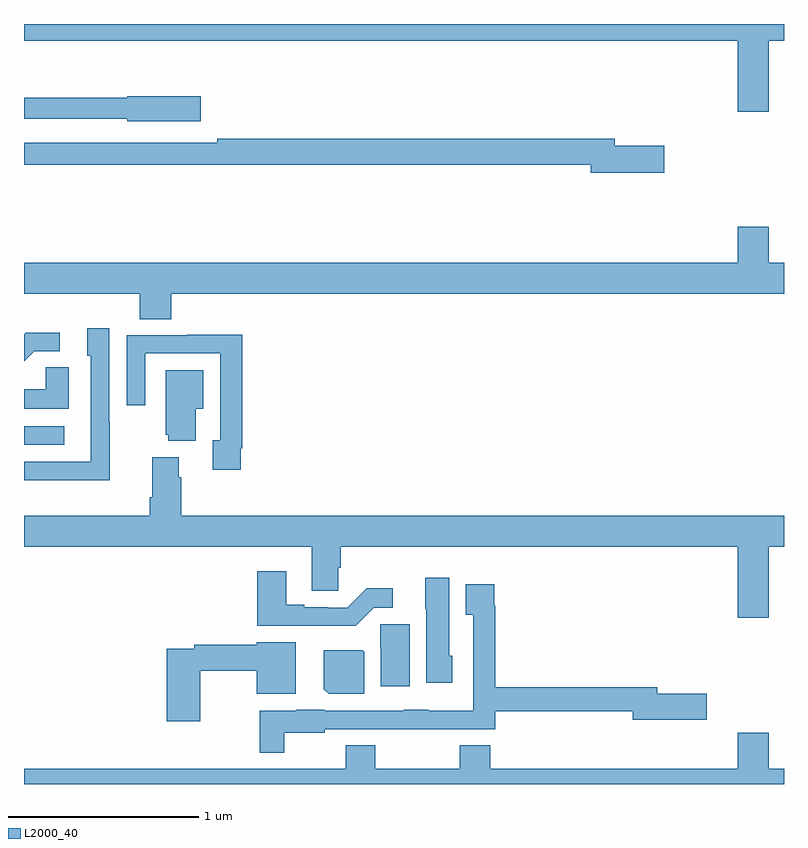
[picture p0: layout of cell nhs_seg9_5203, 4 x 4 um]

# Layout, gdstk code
import gdstk
lib = gdstk.Library(unit=1e-6, precision=1e-09)
def R(c, l, rs):  # rectangles x0, y0, x1, y1
    for r in rs: c.add(gdstk.rectangle(r[:2], r[2:], *l))
def P(c, l, *ps):  # polygons
    for p in ps: c.add(gdstk.Polygon(p, *l))
L2000_40 = (2000, 40)

nhs_seg9_5203 = lib.new_cell('nhs_seg9_5203')
R(nhs_seg9_5203, L2000_40, [(413,1202.286,413.212,1202.382)])
P(nhs_seg9_5203, L2000_40, [(416.92,1204.412),(417,1204.412),(417,1204.5),(413,1204.5),(413,1204.412),(416.756,1204.412),(416.756,1204.038),(416.92,1204.038)],
  [(413.929,1204.119),(413.544,1204.119),(413.544,1204.111),(413,1204.111),(413,1204.002),(413.544,1204.002),(413.544,1203.989),(413.929,1203.989)],
  [(416.371,1203.86),(416.11,1203.86),(416.11,1203.896),(414.016,1203.896),(414.016,1203.876),(413,1203.876),(413,1203.76),(415.982,1203.76),(415.982,1203.718),(416.371,1203.718)],
  [(413.774,1203.08),(417,1203.08),(417,1203.244),(416.92,1203.244),(416.92,1203.433),(416.756,1203.433),(416.756,1203.244),(413,1203.244),(413,1203.08),(413.609,1203.08),(413.609,1202.947),(413.774,1202.947)],
  [(413.451,1202.405),(413.448,1202.405),(413.448,1202.899),(413.333,1202.899),(413.333,1202.754),(413.352,1202.754),(413.352,1202.196),(413,1202.196),(413,1202.099),(413.451,1202.099)],
  [(413.053,1202.778),(413.188,1202.778),(413.188,1202.876),(413.009,1202.876),(413,1202.867),(413,1202.725)],
  [(414.142,1202.266),(414.149,1202.266),(414.149,1202.864),(413.857,1202.864),(413.857,1202.862),(413.541,1202.862),(413.541,1202.493),(413.637,1202.493),(413.637,1202.766),(414.033,1202.766),(414.033,1202.31),(413.993,1202.31),(413.993,1202.154),(414.142,1202.154)],
  [(413.236,1202.693),(413.115,1202.693),(413.115,1202.578),(413,1202.578),(413,1202.474),(413.236,1202.474)],
  [(413.905,1202.474),(413.944,1202.474),(413.944,1202.677),(413.747,1202.677),(413.747,1202.337),(413.759,1202.337),(413.759,1202.306),(413.905,1202.306)],
  [(416.92,1201.748),(417,1201.748),(417,1201.912),(413.828,1201.912),(413.828,1202.114),(413.815,1202.114),(413.815,1202.221),(413.675,1202.221),(413.675,1202.008),(413.663,1202.008),(413.663,1201.912),(413,1201.912),(413,1201.748),(414.515,1201.748),(414.515,1201.516),(414.654,1201.516),(414.654,1201.638),(414.668,1201.638),(414.668,1201.748),(416.756,1201.748),(416.756,1201.374),(416.92,1201.374)],
  [(414.84,1201.428),(414.94,1201.428),(414.94,1201.531),(414.805,1201.531),(414.702,1201.428),(414.602,1201.428),(414.602,1201.431),(414.475,1201.431),(414.475,1201.444),(414.379,1201.444),(414.379,1201.621),(414.227,1201.621),(414.227,1201.334),(414.745,1201.334)],
  [(415.255,1201.176),(415.237,1201.176),(415.237,1201.585),(415.112,1201.585),(415.112,1201.422),(415.118,1201.422),(415.118,1201.032),(415.255,1201.032)],
  [(414.37,1200.77),(414.582,1200.77),(414.582,1200.789),(414.999,1200.789),(414.999,1200.788),(415.231,1200.788),(415.231,1200.789),(415.481,1200.789),(415.481,1200.882),(416.204,1200.882),(416.204,1200.839),(416.593,1200.839),(416.593,1200.974),(416.332,1200.974),(416.332,1201.01),(415.481,1201.01),(415.481,1201.439),(415.474,1201.439),(415.474,1201.552),(415.325,1201.552),(415.325,1201.391),(415.365,1201.391),(415.365,1200.886),(415.131,1200.886),(415.131,1200.892),(414.999,1200.892),(414.999,1200.885),(414.582,1200.885),(414.582,1200.892),(414.432,1200.892),(414.432,1200.886),(414.241,1200.886),(414.241,1200.665),(414.37,1200.665)],
  [(415.03,1201.341),(414.874,1201.341),(414.874,1201.218),(414.878,1201.218),(414.878,1201.014),(415.03,1201.014)],
  [(413.928,1201.096),(414.224,1201.096),(414.224,1200.974),(414.43,1200.974),(414.43,1201.246),(414.224,1201.246),(414.224,1201.232),(413.896,1201.232),(413.896,1201.212),(413.75,1201.212),(413.75,1200.831),(413.928,1200.831)],
  [(414.79,1201.196),(414.782,1201.204),(414.578,1201.204),(414.578,1201),(414.604,1200.974),(414.79,1200.974)],
  [(417,1200.58),(416.92,1200.58),(416.92,1200.769),(416.756,1200.769),(416.756,1200.58),(415.454,1200.58),(415.454,1200.704),(415.294,1200.704),(415.294,1200.58),(414.849,1200.58),(414.849,1200.704),(414.694,1200.704),(414.694,1200.58),(413,1200.58),(413,1200.5),(417,1200.5)])

lib.write_gds('nhs_seg9_5203.gds')
